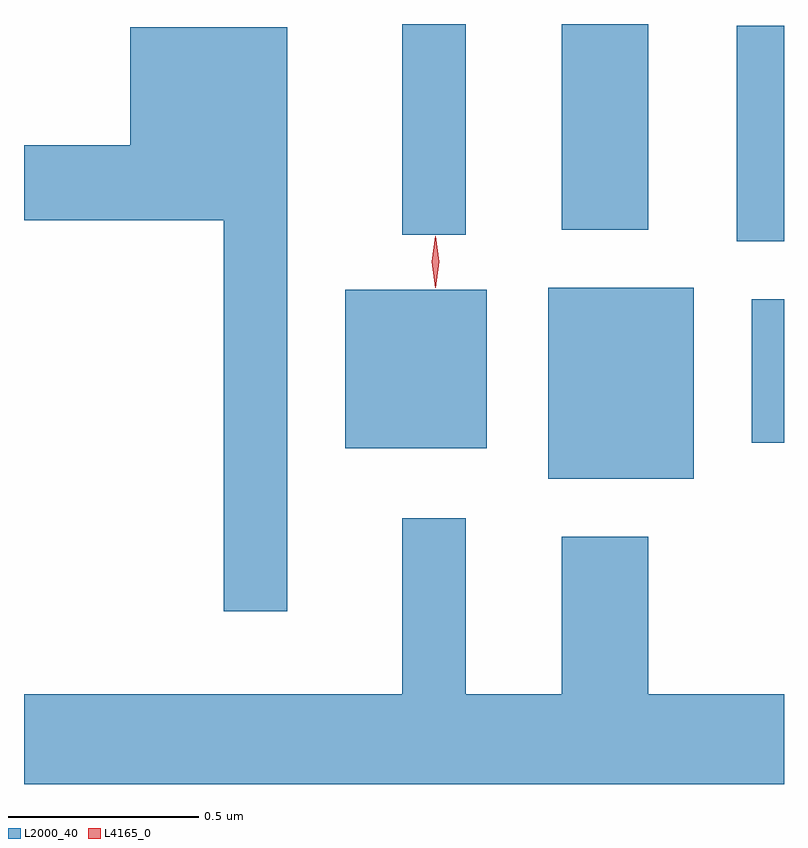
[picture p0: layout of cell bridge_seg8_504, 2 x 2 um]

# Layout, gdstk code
import gdstk
lib = gdstk.Library(unit=1e-6, precision=1e-09)
def R(c, l, rs):  # rectangles x0, y0, x1, y1
    for r in rs: c.add(gdstk.rectangle(r[:2], r[2:], *l))
def P(c, l, *ps):  # polygons
    for p in ps: c.add(gdstk.Polygon(p, *l))
L2000_40 = (2000, 40)
L4165_0 = (4165, 0)

bridge_seg8_504 = lib.new_cell('bridge_seg8_504')
R(bridge_seg8_504, L2000_40, [(381.046,1894.971,381.429,1895.474), (380.511,1895.051,380.884,1895.469), (381.581,1895.066,381.666,1895.444), (381.541,1895.596,381.666,1896.164), (380.661,1895.613,380.829,1896.168), (381.081,1895.626,381.309,1896.168)])
P(bridge_seg8_504, L2000_40, [(380.359,1896.159),(379.946,1896.159),(379.946,1895.849),(379.666,1895.849),(379.666,1895.651),(380.191,1895.651),(380.191,1894.623),(380.359,1894.623)],
  [(381.666,1894.404),(381.309,1894.404),(381.309,1894.819),(381.081,1894.819),(381.081,1894.404),(380.829,1894.404),(380.829,1894.868),(380.661,1894.868),(380.661,1894.404),(379.666,1894.404),(379.666,1894.168),(381.666,1894.168)])
P(bridge_seg8_504, L4165_0, [(380.748,1895.474),(380.739,1895.542),(380.748,1895.61),(380.749,1895.61),(380.749,1895.61),(380.759,1895.542),(380.749,1895.474),(380.749,1895.474)],
  [(380.75,1895.478),(380.749,1895.479),(380.74,1895.543),(380.748,1895.607),(380.749,1895.607),(380.749,1895.607),(380.759,1895.543),(380.75,1895.479)])

lib.write_gds('bridge_seg8_504.gds')
